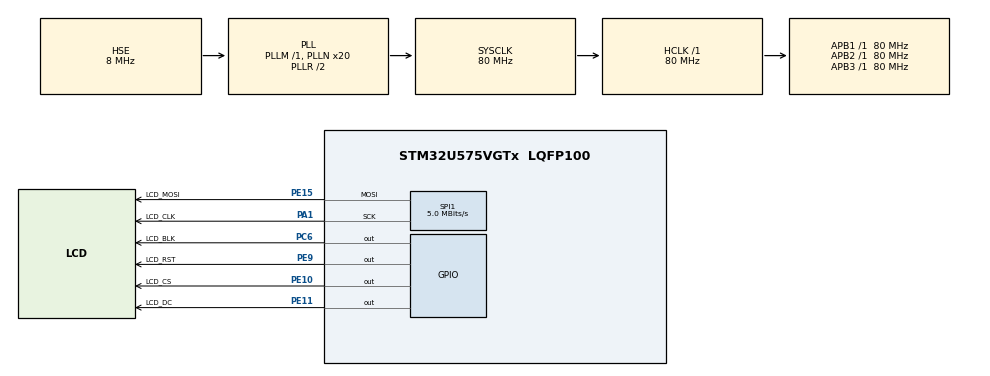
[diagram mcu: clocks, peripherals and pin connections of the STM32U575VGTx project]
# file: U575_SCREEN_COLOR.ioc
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CORTEX_M33_NS.userName=CORTEX_M33
Mcu.Family=STM32U5
Mcu.Name=STM32U575VGTx
Mcu.Package=LQFP100
NVIC.PriorityGroup=NVIC_PRIORITYGROUP_4
PA1.GPIO_Label=LCD_CLK
PA1.GPIO_Speed=GPIO_SPEED_FREQ_VERY_HIGH
PA1.Mode=TX_Only_Simplex_Unidirect_Master
PA1.Signal=SPI1_SCK
PA13\ (JTMS/SWDIO).Mode=Serial_Wire
PA13\ (JTMS/SWDIO).Signal=DEBUG_JTMS-SWDIO
PA14\ (JTCK/SWCLK).Mode=Serial_Wire
PA14\ (JTCK/SWCLK).Signal=DEBUG_JTCK-SWCLK
PC6.GPIO_Label=LCD_BLK
PC6.Signal=GPIO_Output
PE10.GPIO_Label=LCD_CS
PE10.Signal=GPIO_Output
PE11.GPIO_Label=LCD_DC
PE11.Signal=GPIO_Output
PE15.GPIO_Label=LCD_MOSI
PE15.GPIO_Speed=GPIO_SPEED_FREQ_VERY_HIGH
PE15.Mode=TX_Only_Simplex_Unidirect_Master
PE15.Signal=SPI1_MOSI
PE9.GPIO_Label=LCD_RST
PE9.Signal=GPIO_Output
PH0-OSC_IN\ (PH0).Mode=HSE-External-Oscillator
PH0-OSC_IN\ (PH0).Signal=RCC_OSC_IN
PH1-OSC_OUT\ (PH1).Mode=HSE-External-Oscillator
PH1-OSC_OUT\ (PH1).Signal=RCC_OSC_OUT
ProjectManager.HeapSize=0x200
ProjectManager.StackSize=0x400
ProjectManager.TargetToolchain=MDK-ARM V5.39
RCC.ADCFreq_Value=16000000
RCC.AHBFreq_Value=80000000
RCC.APB1Freq_Value=80000000
RCC.APB1TimFreq_Value=80000000
RCC.APB2Freq_Value=80000000
RCC.APB2TimFreq_Value=80000000
RCC.APB3Freq_Value=80000000
RCC.CortexFreq_Value=80000000
RCC.EPOD_VALUE=8000000
RCC.HCLKFreq_Value=80000000
RCC.HSE_VALUE=8000000
RCC.HSI48_VALUE=48000000
RCC.HSI_VALUE=16000000
RCC.LSE_VALUE=32768
RCC.LSIDIV_VALUE=32000
RCC.MSI_VALUE=4000000
RCC.PLLN=20
RCC.PLLSourceVirtual=RCC_PLLSOURCE_HSE
RCC.SYSCLKFreq_VALUE=80000000
RCC.SYSCLKSource=RCC_SYSCLKSOURCE_PLLCLK
RCC.USBFreq_Value=48000000
RCC.VCOOutputFreq_Value=160000000
SPI1.BaudRatePrescaler=SPI_BAUDRATEPRESCALER_16
SPI1.CalculateBaudRate=5.0 MBits/s
SPI1.DataSize=SPI_DATASIZE_8BIT
SPI1.Direction=SPI_DIRECTION_2LINES_TXONLY
SPI1.Mode=SPI_MODE_MASTER
SPI1.NSSPMode=SPI_NSS_PULSE_DISABLE
SPI1.VirtualType=VM_MASTER
VP_ICACHE_VS_ICACHE.Mode=DefaultMode
VP_LPBAMQUEUE_VS_QUEUE.Mode=QUEUEMODE
VP_LPBAM_VS_SIG1.Mode=SmartRun
VP_LPBAM_VS_SIG4.Mode=LPDMA1
VP_MEMORYMAP_VS_MEMORYMAP.Mode=CurAppReg
VP_PWR_VS_SECSignals.Mode=Security/Privilege
board=custom

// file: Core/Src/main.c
/* USER CODE BEGIN Header */
/**
  ******************************************************************************
  * @file           : main.c
  * @brief          : Main program body
  ******************************************************************************
  * @attention
  *
  * Copyright (c) 2026 STMicroelectronics.
  * All rights reserved.
  *
  * This software is licensed under terms that can be found in the LICENSE file
  * in the root directory of this software component.
  * If no LICENSE file comes with this software, it is provided AS-IS.
  *
  ******************************************************************************
  */
/* USER CODE END Header */
#include "main.h"
#include "icache.h"
#include "spi.h"
#include "gpio.h"

/* USER CODE BEGIN Includes */
#include "lcd_selftest.h"
#include "LCD_1in69.h"
/* USER CODE END Includes */

/* USER CODE BEGIN PV */
static const UWORD CENTER_RECT_SIZE = 50U;

/* USER CODE END PV */

void SystemClock_Config(void);
/* USER CODE BEGIN PFP */
static void LCD_ShowCenterWhiteRect(void);
static void LCD_ShowBlackWhiteQuadrants(void);
static void LCD_ShowLargeLetterA(void);

/* USER CODE END PFP */

/* USER CODE BEGIN 0 */
static void LCD_ShowCenterWhiteRect(void)
{
  UWORD rect_x0;
  UWORD rect_y0;
  UWORD rect_x1;
  UWORD rect_y1;

  rect_x0 = (LCD_1IN69.WIDTH - CENTER_RECT_SIZE) / 2U;
  rect_y0 = (LCD_1IN69.HEIGHT - CENTER_RECT_SIZE) / 2U;
  rect_x1 = rect_x0 + CENTER_RECT_SIZE - 1U;
  rect_y1 = rect_y0 + CENTER_RECT_SIZE - 1U;

  LCD_1IN69_FillRect_FastStatic(0, 0, (UWORD)(LCD_1IN69.WIDTH - 1U), (UWORD)(LCD_1IN69.HEIGHT - 1U), LCD_COLOR_BLACK);
  LCD_1IN69_FillRect_FastStatic(rect_x0, rect_y0, rect_x1, rect_y1, LCD_COLOR_WHITE);
}

static void LCD_ShowBlackWhiteQuadrants(void)
{
  UWORD row;
  UWORD col;
  UWORD x0;
  UWORD y0;
  UWORD x1;
  UWORD y1;

  for (row = 0U; row < 10U; row++) {
    y0 = (UWORD)(((UDOUBLE)LCD_1IN69.HEIGHT * row) / 10U);
    y1 = (UWORD)((((UDOUBLE)LCD_1IN69.HEIGHT * (row + 1U)) / 10U) - 1U);

    for (col = 0U; col < 10U; col++) {
      x0 = (UWORD)(((UDOUBLE)LCD_1IN69.WIDTH * col) / 10U);
      x1 = (UWORD)((((UDOUBLE)LCD_1IN69.WIDTH * (col + 1U)) / 10U) - 1U);

      LCD_1IN69_FillRect_FastStatic(x0, y0, x1, y1, (((row + col) & 1U) == 0U) ? LCD_COLOR_WHITE : LCD_COLOR_BLACK);
    }
  }
}

static void LCD_ShowLargeLetterA(void)
{
  static const UBYTE letter_a[9] = {
      0x1CU,
      0x22U,
      0x41U,
      0x41U,
      0x7FU,
      0x41U,
      0x41U,
      0x41U,
      0x41U,
  };
  const UWORD scale = 20U;
  const UWORD glyph_width = 7U;
  const UWORD glyph_height = 9U;
  UWORD origin_x = (UWORD)((LCD_1IN69.WIDTH - (glyph_width * scale)) / 2U);
  UWORD origin_y = (UWORD)((LCD_1IN69.HEIGHT - (glyph_height * scale)) / 2U);
  UWORD row;
  UWORD col;

  LCD_1IN69_FillRect_FastStatic(0, 0, (UWORD)(LCD_1IN69.WIDTH - 1U), (UWORD)(LCD_1IN69.HEIGHT - 1U), LCD_COLOR_BLACK);

  for (row = 0U; row < glyph_height; row++) {
    for (col = 0U; col < glyph_width; col++) {
      if ((letter_a[row] & (1U << (glyph_width - 1U - col))) != 0U) {
        UWORD x0 = (UWORD)(origin_x + (col * scale));
        UWORD y0 = (UWORD)(origin_y + (row * scale));
        UWORD x1 = (UWORD)(x0 + scale - 1U);
        UWORD y1 = (UWORD)(y0 + scale - 1U);

        LCD_1IN69_FillRect_FastStatic(x0, y0, x1, y1, LCD_COLOR_WHITE);
      }
    }
  }
}

/* USER CODE END 0 */

int main(void)
{

  /* MCU Configuration--------------------------------------------------------*/

  /* Reset of all peripherals, Initializes the Flash interface and the Systick. */
  HAL_Init();

  /* Configure the system clock */
  SystemClock_Config();

  /* Initialize all configured peripherals */
  MX_GPIO_Init();
  MX_SPI1_Init();
  MX_ICACHE_Init();
  /* USER CODE BEGIN 2 */

  DEV_Module_Init();
  LCD_1IN69_Init(VERTICAL);

  LCD_ShowCenterWhiteRect();
  /* USER CODE END 2 */

  /* Infinite loop */
  while (1)
  {

    /* USER CODE BEGIN 3 */
    HAL_Delay(3000);
    LCD_ShowBlackWhiteQuadrants();
    HAL_Delay(3000);
    LCD_ShowLargeLetterA();
    HAL_Delay(3000);
    LCD_ShowCenterWhiteRect();
  }
  /* USER CODE END 3 */
}

void SystemClock_Config(void)
{
  RCC_OscInitTypeDef RCC_OscInitStruct = {0};
  RCC_ClkInitTypeDef RCC_ClkInitStruct = {0};

  /** Configure the main internal regulator output voltage
  */
  if (HAL_PWREx_ControlVoltageScaling(PWR_REGULATOR_VOLTAGE_SCALE2) != HAL_OK)
  {
    Error_Handler();
  }

  /** Initializes the CPU, AHB and APB buses clocks
  */
  RCC_OscInitStruct.OscillatorType = RCC_OSCILLATORTYPE_HSE;
  RCC_OscInitStruct.HSEState = RCC_HSE_ON;
  RCC_OscInitStruct.PLL.PLLState = RCC_PLL_ON;
  RCC_OscInitStruct.PLL.PLLSource = RCC_PLLSOURCE_HSE;
  RCC_OscInitStruct.PLL.PLLMBOOST = RCC_PLLMBOOST_DIV1;
  RCC_OscInitStruct.PLL.PLLM = 1;
  RCC_OscInitStruct.PLL.PLLN = 20;
  RCC_OscInitStruct.PLL.PLLP = 2;
  RCC_OscInitStruct.PLL.PLLQ = 2;
  RCC_OscInitStruct.PLL.PLLR = 2;
  RCC_OscInitStruct.PLL.PLLRGE = RCC_PLLVCIRANGE_1;
  RCC_OscInitStruct.PLL.PLLFRACN = 0;
  if (HAL_RCC_OscConfig(&RCC_OscInitStruct) != HAL_OK)
  {
    Error_Handler();
  }

  /** Initializes the CPU, AHB and APB buses clocks
  */
  RCC_ClkInitStruct.ClockType = RCC_CLOCKTYPE_HCLK|RCC_CLOCKTYPE_SYSCLK
                              |RCC_CLOCKTYPE_PCLK1|RCC_CLOCKTYPE_PCLK2
                              |RCC_CLOCKTYPE_PCLK3;
  RCC_ClkInitStruct.SYSCLKSource = RCC_SYSCLKSOURCE_PLLCLK;
  RCC_ClkInitStruct.AHBCLKDivider = RCC_SYSCLK_DIV1;
  RCC_ClkInitStruct.APB1CLKDivider = RCC_HCLK_DIV1;
  RCC_ClkInitStruct.APB2CLKDivider = RCC_HCLK_DIV1;
  RCC_ClkInitStruct.APB3CLKDivider = RCC_HCLK_DIV1;

  if (HAL_RCC_ClockConfig(&RCC_ClkInitStruct, FLASH_LATENCY_2) != HAL_OK)
  {
    Error_Handler();
  }
}

void Error_Handler(void)
{
  /* USER CODE BEGIN Error_Handler_Debug */
  __disable_irq();

  __HAL_RCC_GPIOC_CLK_ENABLE();

  GPIO_InitTypeDef GPIO_InitStruct = {0};
  GPIO_InitStruct.Pin = LCD_BLK_Pin;
  GPIO_InitStruct.Mode = GPIO_MODE_OUTPUT_PP;
  GPIO_InitStruct.Pull = GPIO_NOPULL;
  GPIO_InitStruct.Speed = GPIO_SPEED_FREQ_LOW;
  HAL_GPIO_Init(LCD_BLK_GPIO_Port, &GPIO_InitStruct);

  while (1)
  {
    HAL_GPIO_TogglePin(LCD_BLK_GPIO_Port, LCD_BLK_Pin);

    for (volatile uint32_t i = 0; i < 3000000; i++)
    {
      __NOP();
    }
  }
  /* USER CODE END Error_Handler_Debug */
}
